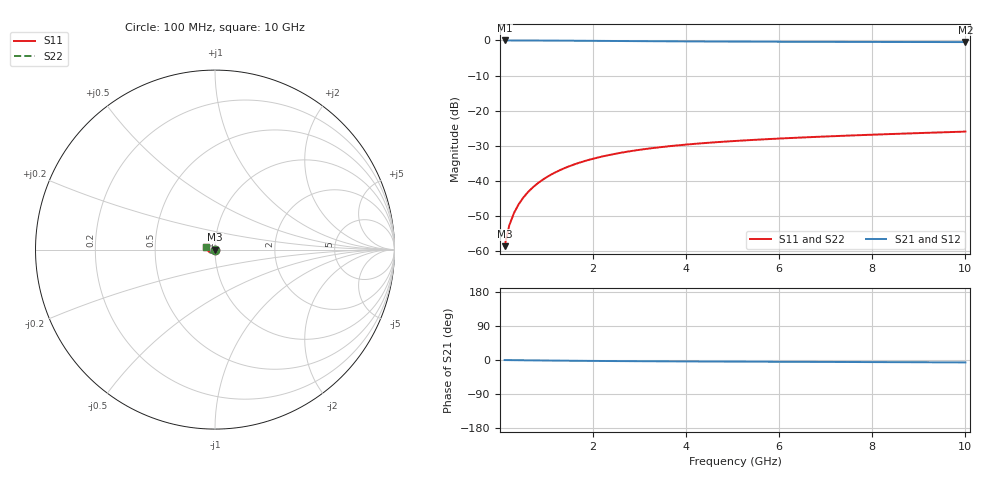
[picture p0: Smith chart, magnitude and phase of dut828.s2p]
! Touchstone file exported from HFSS 2024.1.0
!  File:  C:/UserFiles/LocalFiles/RDL_TSV_Batchsim/temp_TSV1_828_1779878954.aedt
!  Generated:  06:55:47 PM May 27, 2026
!  Design:  TSV1
!  Project:  temp_TSV1_828_1779878954
!  Setup:  Setup1
!  Solution:  Sweep
! Variables:
!  dtsv = 8.38um
!  hbump = 3um
!  htsv = 99.03um
!  lrdl = 252.1521522um
!  p = 40
!  p1 = 53.86um
!  t = 500um
!  trdl = 3um
!  wrdl = 24.89489489um
# GHz S MA R 50.000000
! Terminal data exported
! Port[1] = TSV22_T1
! Port[2] = TSV22_T2
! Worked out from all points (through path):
!   100 points, 100 MHz to 10 GHz, reference 50 ohm
!   highest |S21| = 0.00 dB at 100 MHz (marker M1); lowest = -0.5 dB at 10 GHz (marker M2)
!   lowest |S11| = -58.6 dB at 100 MHz (marker M3), VSWR 1.00, Z = 50 - j0.116 ohm
!   |S11| at or under -10 dB: start of sweep to end of sweep
!   |S22| runs from -58.6 to -25.9 dB; largest |S21 - S12| = 4.6e-15
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0.1  0.001179 -80.5  0.9997 -0.1  0.9997 -0.1  0.001179 -80.5
! Gamma 0 0 0 0
! Port Impedance 50 0 50 0
0.2  0.002329 -88.0  0.9996 -0.3  0.9996 -0.3  0.002329 -88.0
0.3  0.003485 -91.9  0.9994 -0.4  0.9994 -0.4  0.003485 -91.9
0.4  0.004637 -94.9  0.9991 -0.6  0.9991 -0.6  0.004637 -94.9
0.5  0.005781 -97.4  0.9987 -0.7  0.9987 -0.7  0.005781 -97.4
0.6  0.006913 -99.8  0.9983 -0.8  0.9983 -0.8  0.006913 -99.8
0.7  0.008032 -102.1  0.9978 -1.0  0.9978 -1.0  0.008032 -102.1
0.8  0.009135 -104.2  0.9972 -1.1  0.9972 -1.1  0.009135 -104.2
0.9  0.01022 -106.3  0.9966 -1.2  0.9966 -1.2  0.01022 -106.3
1.1  0.01233 -110.4  0.9951 -1.5  0.9951 -1.5  0.01233 -110.4
1.4  0.01534 -116.1  0.9927 -1.8  0.9927 -1.8  0.01534 -116.1
1.6  0.01723 -119.8  0.9909 -2.0  0.9909 -2.0  0.01723 -119.8
1.8  0.01902 -123.3  0.989 -2.2  0.989 -2.2  0.01902 -123.3
2.1  0.02151 -128.3  0.9861 -2.5  0.9861 -2.5  0.02151 -128.3
2.5  0.02451 -134.6  0.9822 -2.8  0.9822 -2.8  0.02451 -134.6
2.9  0.02715 -140.4  0.9785 -3.1  0.9785 -3.1  0.02715 -140.4
3.4  0.03001 -147.1  0.9741 -3.4  0.9741 -3.4  0.03001 -147.1
4.2  0.0338 -156.4  0.9682 -3.9  0.9682 -3.9  0.0338 -156.4
5.1  0.03725 -165.5  0.9628 -4.3  0.9628 -4.3  0.03725 -165.5
6.7  0.04214 -178.8  0.9559 -5.0  0.9559 -5.0  0.04214 -178.8
8.4  0.04654 169.9  0.9511 -5.7  0.9511 -5.7  0.04653 169.9
10  0.05041 161.1  0.948 -6.4  0.948 -6.4  0.05041 161.1
